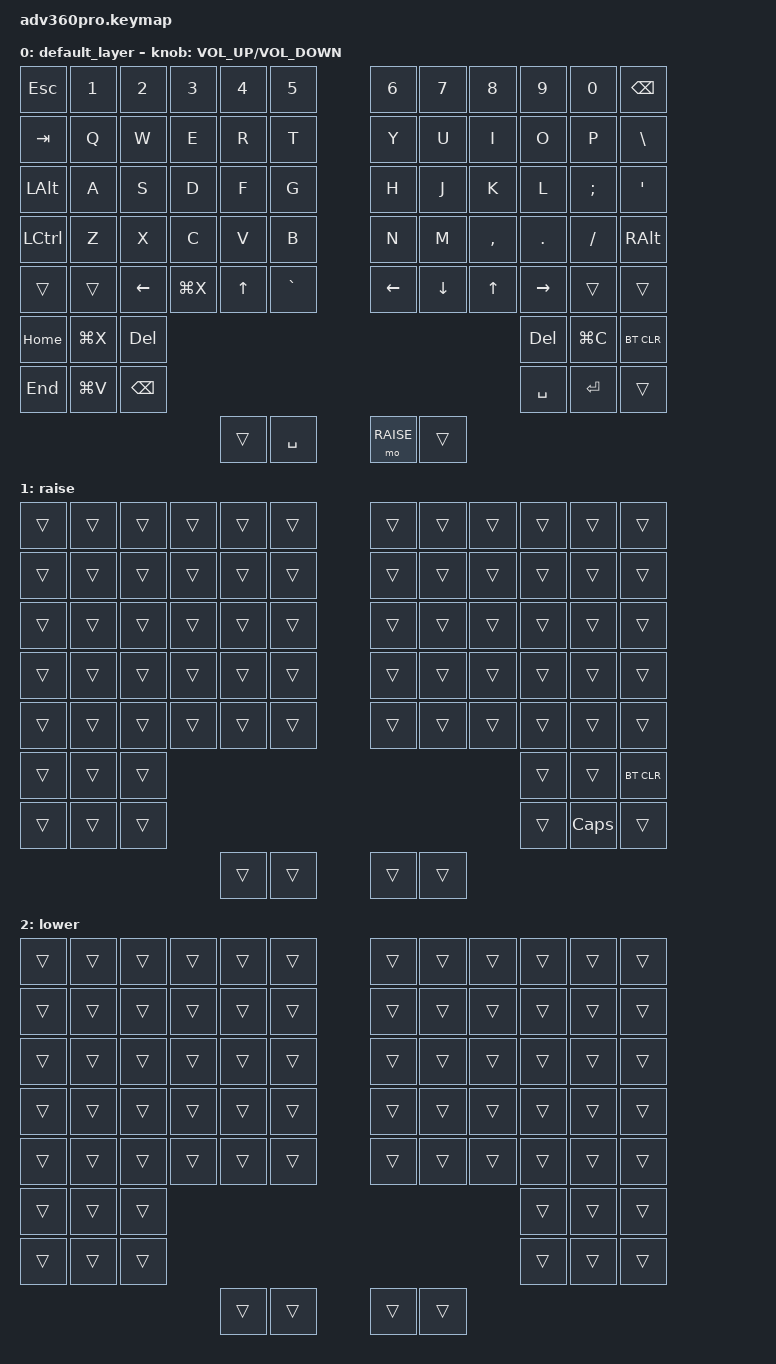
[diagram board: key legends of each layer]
#include <behaviors.dtsi>
#include <dt-bindings/zmk/keys.h>
#include <dt-bindings/zmk/bt.h>
#include <dt-bindings/zmk/outputs.h>

#define DEFAULT 0
#define RAISE   1
#define LOWER   2

/ {
    keymap {
        compatible = "zmk,keymap";

        default_layer {
            bindings = <
/*,-----------------------------------------------------.                    ,-----------------------------------------------------.*/
&kp ESC     &kp N1      &kp N2      &kp N3      &kp N4      &kp N5                          &kp N6      &kp N7      &kp N8      &kp N9      &kp N0      &kp BSPC
/*|-----------+-----------+-----------+-----------+-----------+-----------|                    |-----------+-----------+-----------+-----------+-----------+-----------|*/
&kp TAB     &kp Q       &kp W       &kp E       &kp R       &kp T                           &kp Y       &kp U       &kp I       &kp O       &kp P       &kp BSLH
/*|-----------+-----------+-----------+-----------+-----------+-----------|                    |-----------+-----------+-----------+-----------+-----------+-----------|*/
&kp LALT    &kp A       &kp S       &kp D       &kp F       &kp G                           &kp H       &kp J       &kp K       &kp L       &kp SEMI    &kp SQT
/*|-----------+-----------+-----------+-----------+-----------+-----------+-----------+-----------|  |-----------+-----------+-----------+-----------+-----------+-----------+-----------+-----------|*/
&kp LCTRL   &kp Z       &kp X       &kp C       &kp V       &kp B                           &kp N       &kp M       &kp COMMA   &kp PERIOD  &kp FSLH    &kp RALT
/*|-----------+-----------+-----------+-----------+-----------+-----------|                    |-----------+-----------+-----------+-----------+-----------+-----------|*/
&trans      &trans      &kp LEFT    &kp LG(X)   &kp UP      &kp GRAVE                       &kp LEFT    &kp DOWN    &kp UP      &kp RIGHT   &trans      &trans
/*`-----------------------------------------------------/                    /-----------------------------------------------------'*/
                        /*,---------------------------------.*/    /*,---------------------------------.*/
                        &kp HOME    &kp LG(X)   &kp DEL         &kp DEL     &kp LG(C)   &bt BT_CLR
                        /*|-----------+-----------+-----------|*/    /*|-----------+-----------+-----------|*/
                        &kp END     &kp LG(V)   &kp BSPC        &kp SPACE   &kp ENTER   &trans
                        /*|-----------+-----------+-----------|*/    /*|-----------+-----------+-----------|*/
                                    &trans      &kp SPACE       &mo RAISE   &trans
                                    /*'---------'*/        /*'---------'*/
            >;
            sensor-bindings = <&inc_dec_kp C_VOLUME_UP C_VOLUME_DOWN>;
        };

        raise {
             bindings = <
/*,-----------------------------------------------------.                    ,-----------------------------------------------------.*/
&trans      &trans      &trans      &trans      &trans      &trans                          &trans      &trans      &trans      &trans      &trans      &trans
/*|-----------+-----------+-----------+-----------+-----------+-----------|                    |-----------+-----------+-----------+-----------+-----------+-----------|*/
&trans      &trans      &trans      &trans      &trans      &trans                          &trans      &trans      &trans      &trans      &trans      &trans
/*|-----------+-----------+-----------+-----------+-----------+-----------|                    |-----------+-----------+-----------+-----------+-----------+-----------|*/
&trans      &trans      &trans      &trans      &trans      &trans                          &trans      &trans      &trans      &trans      &trans      &trans
/*|-----------+-----------+-----------+-----------+-----------+-----------+-----------+-----------|  |-----------+-----------+-----------+-----------+-----------+-----------+-----------+-----------|*/
&trans      &trans      &trans      &trans      &trans      &trans                          &trans      &trans      &trans      &trans      &trans      &trans
/*|-----------+-----------+-----------+-----------+-----------+-----------|                    |-----------+-----------+-----------+-----------+-----------+-----------|*/
&trans      &trans      &trans      &trans      &trans      &trans                          &trans      &trans      &trans      &trans      &trans      &trans
/*`-----------------------------------------------------/                    /-----------------------------------------------------'*/
                        /*,---------------------------------.*/    /*,---------------------------------.*/
                        &trans      &trans      &trans          &trans      &trans      &bt BT_CLR
                        /*|-----------+-----------+-----------|*/    /*|-----------+-----------+-----------|*/
                        &trans      &trans      &trans          &trans      &kp CAPS    &trans
                        /*|-----------+-----------+-----------|*/    /*|-----------+-----------+-----------|*/
                                    &trans      &trans          &trans      &trans
                                    /*'---------'*/        /*'---------'*/
            >;
        };

        lower {
             bindings = <
/*,-----------------------------------------------------.                    ,-----------------------------------------------------.*/
&trans      &trans      &trans      &trans      &trans      &trans                          &trans      &trans      &trans      &trans      &trans      &trans
/*|-----------+-----------+-----------+-----------+-----------+-----------|                    |-----------+-----------+-----------+-----------+-----------+-----------|*/
&trans      &trans      &trans      &trans      &trans      &trans                          &trans      &trans      &trans      &trans      &trans      &trans
/*|-----------+-----------+-----------+-----------+-----------+-----------|                    |-----------+-----------+-----------+-----------+-----------+-----------|*/
&trans      &trans      &trans      &trans      &trans      &trans                          &trans      &trans      &trans      &trans      &trans      &trans
/*|-----------+-----------+-----------+-----------+-----------+-----------+-----------+-----------|  |-----------+-----------+-----------+-----------+-----------+-----------+-----------+-----------|*/
&trans      &trans      &trans      &trans      &trans      &trans                          &trans      &trans      &trans      &trans      &trans      &trans
/*|-----------+-----------+-----------+-----------+-----------+-----------|                    |-----------+-----------+-----------+-----------+-----------+-----------|*/
&trans      &trans      &trans      &trans      &trans      &trans                          &trans      &trans      &trans      &trans      &trans      &trans
/*`-----------------------------------------------------/                    /-----------------------------------------------------'*/
                        /*,---------------------------------.*/    /*,---------------------------------.*/
                        &trans      &trans      &trans          &trans      &trans      &trans
                        /*|-----------+-----------+-----------|*/    /*|-----------+-----------+-----------|*/
                        &trans      &trans      &trans          &trans      &trans      &trans
                        /*|-----------+-----------+-----------|*/    /*|-----------+-----------+-----------|*/
                                    &trans      &trans          &trans      &trans
                                    /*'---------'*/        /*'---------'*/
            >;
        };
    };
};
